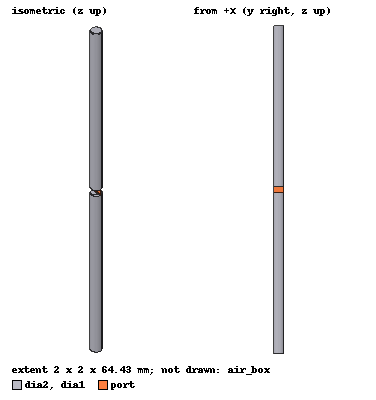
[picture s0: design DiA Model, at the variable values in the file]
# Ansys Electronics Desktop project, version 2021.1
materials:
  vacuum: permittivity=1
  pec: conductivity=1e+30
  copper: permeability=0.999991 conductivity=58000000

design DiA Model (HFSS, DrivenModal, model units mm)
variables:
  d_base = 1mm
  r_d = 1mm
  h_d = 31.714043mm  # optimise 17.75mm..53.25mm
  r_air = 50mm
  h_air = 200mm
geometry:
  dia1 [pec] = cylinder(axis=Z, base_centre=(0mm, 0mm, d_base/2), radius=r_d, height=h_d)
  dia2 [pec] = dia1.duplicate_around_axis(axis=X, angle=180deg, total=2)
  port = rectangle(corner=(0mm, -r_d, -d_base/2), y_size=2*r_d, z_size=d_base)
  air_box [vacuum] = cylinder(axis=Z, base_centre=(0mm, 0mm, -h_air/2), radius=r_air, height=h_air)
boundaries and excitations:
  Rad1: Radiation Objects=air_box
  1: Lumped Port Objects=port Modes{Mode1{IntLine{middle of port.edge(z at corner) -> middle of port.edge(z opposite corner)} CharImp=Zpi RenormImp=50ohm}} Impedance=50ohm
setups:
  Setup1: HfssDriven Frequency=2.1GHz MaxDeltaS=0.02 MaximumPasses=16 MinimumPasses=1 MinimumConvergedPasses=2 PercentRefinement=30 BasisOrder=1 PortAccuracy=2
    sweep Sweep: 1.6GHz to 2.6GHz, 51 points; Type=Discrete SaveFields SaveRadFields
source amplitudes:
  1:1: 1W 0deg
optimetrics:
  OptimizationSetup1: Optimization Optimizer="Quasi Newton" AnalysisStopOptions{StopForNumIteration MaxNumIteration=1000 MinNumIteration=10} CostFuncNormType=L2 Acceptable_Cost=0 Noise=0.0001 UpdateDesignWhenDone
    vary h_d: Min=10mm Max=60mm MinStep=0.355mm MaxStep=3.55mm MinFocus=17.75mm MaxFocus=53.25mm start=35.5mm
    goal dB(S(1,1)) <= -15.5 weight 1 on Setup1 : Sweep at Freq 2.05GHz to 2.15GHz
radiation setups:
  Infinite Sphere1: Infinite Sphere Theta=-180deg..180deg step 1deg Phi=-180deg..180deg step 1deg
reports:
  S Parameter Plot 1: dB(S(1,1)) vs Freq on Setup1 : Sweep; markers m1 at 2.1GHz
  Gain Plot 3: dB(GainTotal) vs Freq on Setup1 : Sweep, Infinite Sphere1 [Phi=90deg Theta=90deg h_d=31.4913mm]
  Directivity Plot 1: dB(DirTotal) vs Freq on Setup1 : Sweep, Infinite Sphere1 [Phi=90deg Theta=90deg h_d=31.4913mm]
  Antenna Params Plot 1: dB(PeakDirectivity), dB(PeakGain), dB(PeakRealizedGain) vs Freq on Setup1 : Sweep [h_d=31.4913mm]
  Gain Plot 4: dB(GainTotal) vs Theta on Setup1 : Sweep, Infinite Sphere1 [Phi=0deg,90deg Freq=2.1GHz h_d=31.4913mm]
  Realized Gain Plot 1: dB(RealizedGainPhi), dB(RealizedGainTheta) vs Theta on Setup1 : Sweep, Infinite Sphere1 [Phi=0deg,90deg Freq=2.1GHz h_d=31.4913mm]
  Gain Plot 5: dB(GainPhi), dB(GainTheta) vs Theta on Setup1 : Sweep, Infinite Sphere1 [Phi=0deg,90deg Freq=2.1GHz h_d=31.4913mm]
